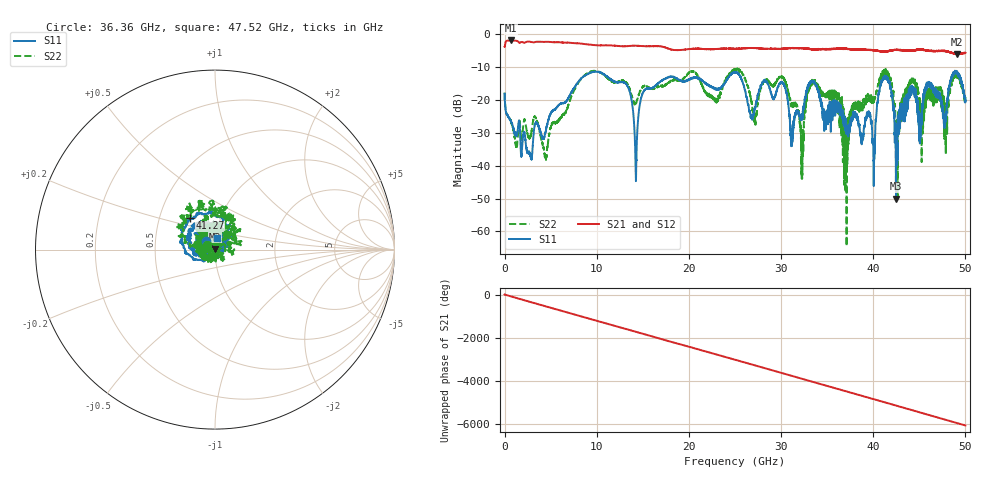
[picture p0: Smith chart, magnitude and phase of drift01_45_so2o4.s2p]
!Created with skrf (http://scikit-rf.org).
# Hz S RI R 50.0
!freq ReS11 ImS11 ReS21 ImS21 ReS12 ImS12 ReS22 ImS22
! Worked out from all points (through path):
!   10001 points, 300 kHz to 50 GHz, reference 50 ohm
!   highest |S21| = -2.00 dB at 710.3 MHz (marker M1); lowest = -6.1 dB at 49.05 GHz (marker M2)
!   group delay of S21, straight-line fit = 336 ps
!   lowest |S11| = -50.0 dB at 42.47 GHz (marker M3), VSWR 1.01, Z = 49.9 + j0.307 ohm
!   |S11| at or under -10 dB: start of sweep to end of sweep
!   |S22| runs from -64.5 to -10.5 dB; largest |S21 - S12| = 0.023
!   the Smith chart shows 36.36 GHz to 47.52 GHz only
!   S11 on the Smith chart (normalised r, x): 36.36 GHz: 0.90, +0.08; 41.27 GHz: 0.71, +0.26; 47.52 GHz: 1.01, +0.13
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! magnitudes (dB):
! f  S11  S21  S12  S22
! 300 kHz  -18.2  -4.0  -4.0  -17.8
! 710.3 MHz  -26.7  -2.0  -2.0  -26.8
! 4.445 GHz  -29.8  -2.4  -2.4  -37.1
! 8.335 GHz  -13.5  -3.0  -3.0  -13.5
! 13.17 GHz  -15.1  -3.7  -3.7  -14.7
! 14.25 GHz  -44.7  -3.6  -3.6  -21.1
! 16.67 GHz  -14.9  -3.7  -3.7  -15.9
! 25 GHz  -11.6  -4.5  -4.6  -11.0
! 27.15 GHz  -22.7  -4.3  -4.3  -26.1
! 30.2 GHz  -15.1  -4.5  -4.5  -13.3
! 32.23 GHz  -24.8  -4.3  -4.4  -43.9
! 33.34 GHz  -14.4  -4.7  -4.6  -14.6
! 36.36 GHz  -23.5  -4.4  -4.5  -25.5
! 37.07 GHz  -28.7  -4.6  -4.6  -30.4
! 40.06 GHz  -46.2  -5.0  -5.0  -20.8
! 41.27 GHz  -13.0  -5.3  -5.3  -12.2
! 41.67 GHz  -14.4  -5.1  -5.2  -12.3
! 42.47 GHz  -50.0  -4.8  -4.8  -33.1
! 44.17 GHz  -16.7  -5.0  -5.1  -14.0
! 47.52 GHz  -23.6  -5.2  -5.2  -19.3
! 49.05 GHz  -11.6  -6.1  -6.1  -12.4
! 50 GHz  -19.9  -5.8  -5.8  -19.6
